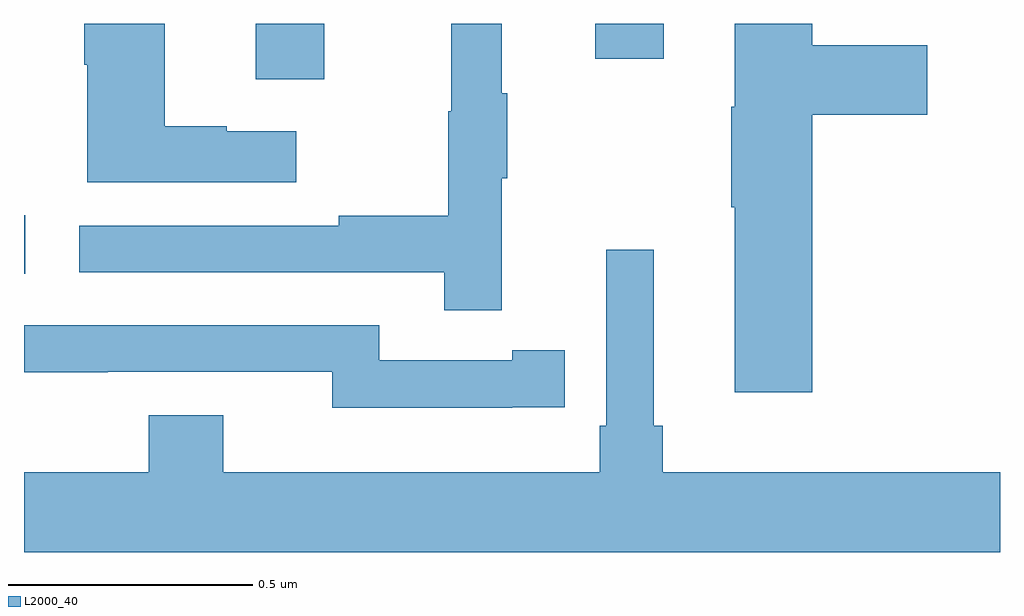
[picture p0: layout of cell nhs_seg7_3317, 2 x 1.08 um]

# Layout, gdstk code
import gdstk
lib = gdstk.Library(unit=1e-6, precision=1e-09)
def R(c, l, rs):  # rectangles x0, y0, x1, y1
    for r in rs: c.add(gdstk.rectangle(r[:2], r[2:], *l))
def P(c, l, *ps):  # polygons
    for p in ps: c.add(gdstk.Polygon(p, *l))
L2000_40 = (2000, 40)

nhs_seg7_3317 = lib.new_cell('nhs_seg7_3317')
R(nhs_seg7_3317, L2000_40, [(157,1034.487,157.003,1034.607), (157.475,1034.886,157.615,1035), (158.171,1034.928,158.311,1035)])
P(nhs_seg7_3317, L2000_40, [(157.558,1034.779),(157.415,1034.779),(157.415,1034.789),(157.288,1034.789),(157.288,1035),(157.123,1035),(157.123,1034.915),(157.13,1034.915),(157.13,1034.675),(157.558,1034.675)],
  [(157.979,1034.683),(157.99,1034.683),(157.99,1034.857),(157.979,1034.857),(157.979,1035),(157.876,1035),(157.876,1034.82),(157.869,1034.82),(157.869,1034.606),(157.645,1034.606),(157.645,1034.586),(157.113,1034.586),(157.113,1034.49),(157.861,1034.49),(157.861,1034.412),(157.979,1034.412)],
  [(158.615,1034.813),(158.851,1034.813),(158.851,1034.955),(158.615,1034.955),(158.615,1035),(158.456,1035),(158.456,1034.829),(158.449,1034.829),(158.449,1034.623),(158.456,1034.623),(158.456,1034.244),(158.615,1034.244)],
  [(159,1034.08),(158.309,1034.08),(158.309,1034.176),(158.29,1034.176),(158.29,1034.536),(158.193,1034.536),(158.193,1034.176),(158.18,1034.176),(158.18,1034.08),(157.408,1034.08),(157.408,1034.197),(157.256,1034.197),(157.256,1034.08),(157,1034.08),(157,1033.916),(159,1033.916)],
  [(158,1034.214),(158.108,1034.214),(158.108,1034.33),(158,1034.33),(158,1034.31),(157.728,1034.31),(157.728,1034.382),(157,1034.382),(157,1034.285),(157.172,1034.285),(157.172,1034.286),(157.632,1034.286),(157.632,1034.213),(158,1034.213)])

lib.write_gds('nhs_seg7_3317.gds')
